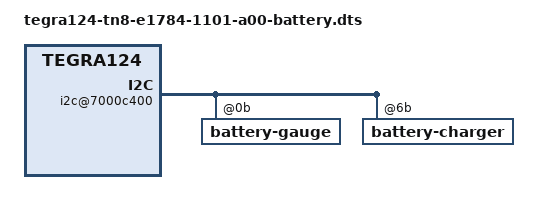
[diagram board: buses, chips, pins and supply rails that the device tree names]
#include "tegra124-tn8-e1784-1101-a00.dts"

/ {
	nvidia,dtsfilename = __FILE__;

	i2c@7000c400 {
		battery-gauge@0b {
			status = "okay";
		};

		battery-charger@6b {
			charger {
				status = "okay";
			};
		};
	};

	sysedp_batmon_calc {
		status = "okay";
	};

	thermal-zones {
		Battery {
			status = "okay";
		};
	};

};

